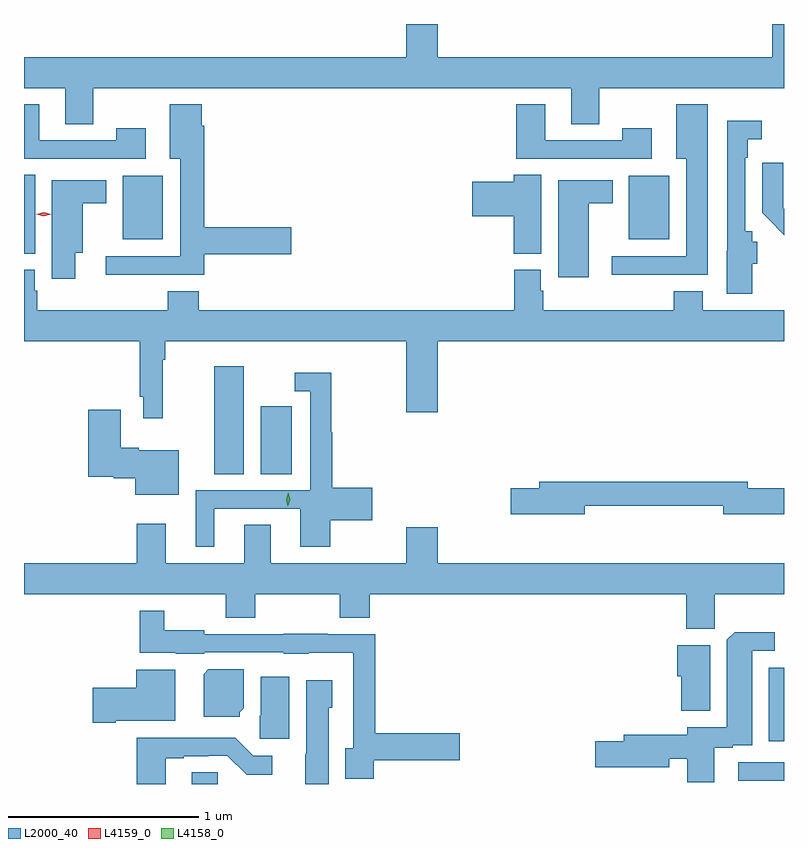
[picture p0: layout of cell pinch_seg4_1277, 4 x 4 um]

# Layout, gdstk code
import gdstk
lib = gdstk.Library(unit=1e-6, precision=1e-09)
def R(c, l, rs):  # rectangles x0, y0, x1, y1
    for r in rs: c.add(gdstk.rectangle(r[:2], r[2:], *l))
def P(c, l, *ps):  # polygons
    for p in ps: c.add(gdstk.Polygon(p, *l))
L2000_40 = (2000, 40)
L4158_0 = (4158, 0)
L4159_0 = (4159, 0)

pinch_seg4_1277 = lib.new_cell('pinch_seg4_1277')
R(pinch_seg4_1277, L2000_40, [(343.697,749.202,343.836,749.264), (346.575,749.22,346.815,749.316), (346.736,749.426,346.815,749.815), (343.817,750.832,343.972,751.402), (344.06,750.832,344.224,751.189), (342.815,751.994,342.874,752.408), (343.334,752.069,343.546,752.404), (345.998,752.069,346.21,752.404)])
P(pinch_seg4_1277, L2000_40, [(343.179,752.864),(345.695,752.864),(345.695,752.674),(345.843,752.674),(345.843,752.864),(346.815,752.864),(346.815,753.202),(346.753,753.202),(346.753,753.028),(344.992,753.028),(344.992,753.202),(344.828,753.202),(344.828,753.028),(342.815,753.028),(342.815,752.864),(343.031,752.864),(343.031,752.674),(343.179,752.674)],
  [(343.456,752.653),(343.3,752.653),(343.3,752.589),(342.895,752.589),(342.895,752.779),(342.815,752.779),(342.815,752.493),(343.456,752.493)],
  [(346.12,752.653),(345.964,752.653),(345.964,752.589),(345.559,752.589),(345.559,752.779),(345.407,752.779),(345.407,752.493),(346.12,752.493)],
  [(346.414,752.779),(346.247,752.779),(346.247,752.492),(346.301,752.492),(346.301,751.98),(345.909,751.98),(345.909,751.883),(346.414,751.883)],
  [(343.763,751.99),(344.221,751.99),(344.221,752.132),(343.763,752.132),(343.763,752.666),(343.75,752.666),(343.75,752.779),(343.583,752.779),(343.583,752.492),(343.637,752.492),(343.637,751.98),(343.245,751.98),(343.245,751.883),(343.763,751.883)],
  [(346.648,751.941),(346.675,751.941),(346.675,752.055),(346.647,752.055),(346.647,752.112),(346.611,752.112),(346.611,752.498),(346.623,752.498),(346.623,752.595),(346.699,752.595),(346.699,752.692),(346.515,752.692),(346.515,752.009),(346.514,752.009),(346.514,751.781),(346.648,751.781)],
  [(346.815,752.229),(346.812,752.232),(346.812,752.473),(346.7,752.473),(346.7,752.208),(346.774,752.134),(346.774,752.133),(346.815,752.091)],
  [(345.538,752.408),(345.392,752.408),(345.392,752.372),(345.174,752.372),(345.174,752.189),(345.392,752.189),(345.392,751.993),(345.538,751.993)],
  [(343.084,751.997),(343.123,751.997),(343.123,752.258),(343.249,752.258),(343.249,752.38),(342.962,752.38),(342.962,751.86),(343.084,751.86)],
  [(345.787,752.258),(345.913,752.258),(345.913,752.38),(345.626,752.38),(345.626,751.868),(345.787,751.868)],
  [(343.544,751.436),(343.559,751.436),(343.559,751.532),(344.828,751.532),(344.828,751.158),(344.992,751.158),(344.992,751.532),(346.815,751.532),(346.815,751.696),(346.387,751.696),(346.387,751.795),(346.235,751.795),(346.235,751.696),(345.548,751.696),(345.548,751.797),(345.535,751.797),(345.535,751.908),(345.395,751.908),(345.395,751.696),(343.736,751.696),(343.736,751.795),(343.571,751.795),(343.571,751.696),(342.884,751.696),(342.884,751.797),(342.871,751.797),(342.871,751.909),(342.815,751.909),(342.815,751.532),(343.423,751.532),(343.423,751.24),(343.443,751.24),(343.443,751.128),(343.544,751.128)],
  [(343.816,750.651),(344.27,750.651),(344.27,750.45),(344.427,750.45),(344.427,750.59),(344.647,750.59),(344.647,750.761),(344.438,750.761),(344.438,751.053),(344.431,751.053),(344.431,751.366),(344.241,751.366),(344.241,751.269),(344.322,751.269),(344.322,750.747),(343.718,750.747),(343.718,750.45),(343.816,750.45)],
  [(343.63,750.958),(343.42,750.958),(343.42,750.971),(343.324,750.971),(343.324,751.171),(343.154,751.171),(343.154,750.818),(343.287,750.818),(343.287,750.811),(343.4,750.811),(343.4,750.725),(343.63,750.725)],
  [(345.766,750.666),(346.496,750.666),(346.496,750.623),(346.815,750.623),(346.815,750.758),(346.624,750.758),(346.624,750.794),(345.527,750.794),(345.527,750.758),(345.378,750.758),(345.378,750.623),(345.766,750.623)],
  [(346.451,750.2),(346.815,750.2),(346.815,750.364),(344.992,750.364),(344.992,750.553),(344.828,750.553),(344.828,750.364),(344.113,750.364),(344.113,750.566),(343.973,750.566),(343.973,750.364),(343.561,750.364),(343.561,750.571),(343.409,750.571),(343.409,750.364),(342.815,750.364),(342.815,750.2),(343.876,750.2),(343.876,750.076),(344.031,750.076),(344.031,750.2),(344.476,750.2),(344.476,750.076),(344.636,750.076),(344.636,750.2),(346.301,750.2),(346.301,750.018),(346.451,750.018)],
  [(344.656,749.326),(345.109,749.326),(345.109,749.468),(344.663,749.468),(344.663,749.991),(344.413,749.991),(344.413,749.993),(344.181,749.993),(344.181,749.991),(343.764,749.991),(343.764,750.01),(343.552,750.01),(343.552,750.115),(343.423,750.115),(343.423,749.894),(343.614,749.894),(343.614,749.888),(343.764,749.888),(343.764,749.895),(344.181,749.895),(344.181,749.888),(344.313,749.888),(344.313,749.894),(344.547,749.894),(344.547,749.39),(344.507,749.39),(344.507,749.229),(344.656,749.229)],
  [(346.447,749.394),(346.544,749.394),(346.544,749.406),(346.648,749.406),(346.648,749.904),(346.767,749.904),(346.767,750.002),(346.556,750.002),(346.514,749.96),(346.514,749.502),(346.307,749.502),(346.307,749.462),(345.971,749.462),(345.971,749.426),(345.822,749.426),(345.822,749.291),(346.21,749.291),(346.21,749.334),(346.307,749.334),(346.307,749.211),(346.447,749.211)],
  [(346.426,749.932),(346.253,749.932),(346.253,749.77),(346.274,749.77),(346.274,749.587),(346.426,749.587)],
  [(343.95,749.58),(343.972,749.602),(343.972,749.806),(343.786,749.806),(343.76,749.78),(343.76,749.555),(343.95,749.555)],
  [(343.299,749.534),(343.612,749.534),(343.612,749.804),(343.406,749.804),(343.406,749.708),(343.176,749.708),(343.176,749.525),(343.299,749.525)],
  [(344.212,749.767),(344.06,749.767),(344.06,749.562),(344.056,749.562),(344.056,749.439),(344.212,749.439)],
  [(344.419,749.604),(344.437,749.604),(344.437,749.749),(344.3,749.749),(344.3,749.358),(344.294,749.358),(344.294,749.202),(344.419,749.202)],
  [(343.561,749.337),(343.657,749.337),(343.657,749.349),(343.784,749.349),(343.784,749.352),(343.884,749.352),(343.987,749.25),(344.122,749.25),(344.122,749.352),(344.022,749.352),(343.928,749.446),(343.409,749.446),(343.409,749.202),(343.561,749.202)])
P(pinch_seg4_1277, L4158_0, [(344.204,750.663),(344.204,750.663),(344.196,750.699),(344.207,750.734),(344.207,750.734),(344.207,750.734),(344.216,750.698),(344.204,750.663)])
P(pinch_seg4_1277, L4159_0, [(342.919,752.19),(342.88,752.2),(342.879,752.2),(342.88,752.201),(342.919,752.21),(342.958,752.201),(342.958,752.2),(342.958,752.2)])

lib.write_gds('pinch_seg4_1277.gds')
